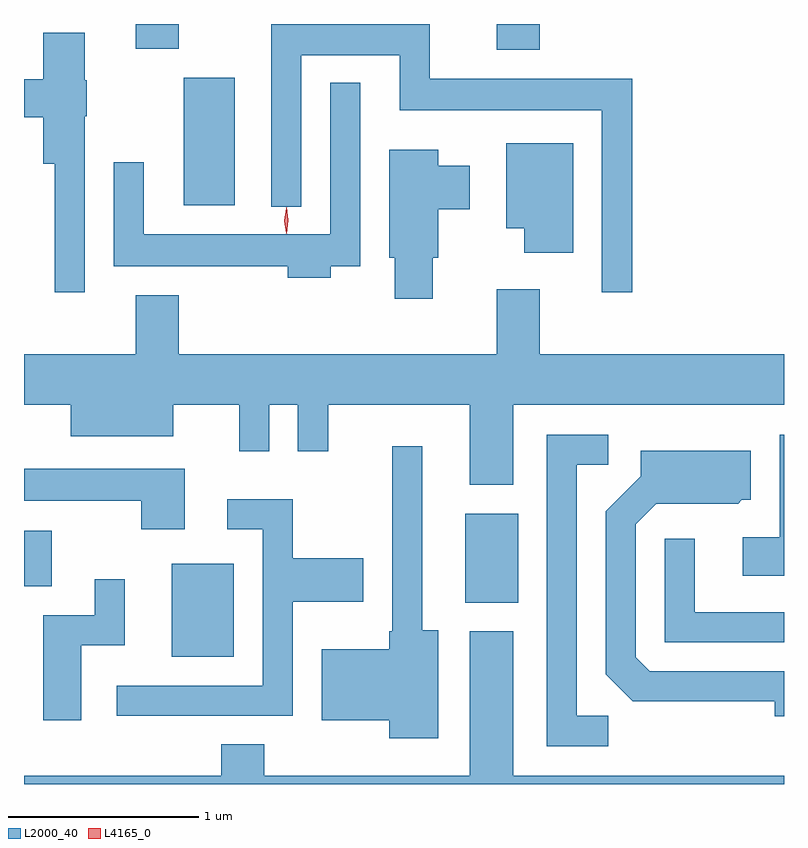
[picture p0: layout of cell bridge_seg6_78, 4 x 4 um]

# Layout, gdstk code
import gdstk
lib = gdstk.Library(unit=1e-6, precision=1e-09)
def R(c, l, rs):  # rectangles x0, y0, x1, y1
    for r in rs: c.add(gdstk.rectangle(r[:2], r[2:], *l))
def P(c, l, *ps):  # polygons
    for p in ps: c.add(gdstk.Polygon(p, *l))
L2000_40 = (2000, 40)
L4165_0 = (4165, 0)

bridge_seg6_78 = lib.new_cell('bridge_seg6_78')
R(bridge_seg6_78, L2000_40, [(1327.081,1657.491,1327.409,1657.979), (1328.626,1657.776,1328.904,1658.244), (1326.304,1657.861,1326.449,1658.154), (1327.146,1659.866,1327.414,1660.539), (1328.791,1660.686,1329.019,1660.821), (1326.891,1660.691,1327.119,1660.821)])
P(bridge_seg6_78, L2000_40, [(1329.504,1660.534),(1328.439,1660.534),(1328.439,1660.821),(1327.606,1660.821),(1327.606,1659.858),(1327.764,1659.858),(1327.764,1660.656),(1328.281,1660.656),(1328.281,1660.366),(1329.346,1660.366),(1329.346,1659.408),(1329.504,1659.408)],
  [(1326.624,1660.335),(1326.634,1660.335),(1326.634,1660.525),(1326.624,1660.525),(1326.624,1660.774),(1326.406,1660.774),(1326.406,1660.529),(1326.304,1660.529),(1326.304,1660.331),(1326.406,1660.331),(1326.406,1660.086),(1326.466,1660.086),(1326.466,1659.408),(1326.624,1659.408)],
  [(1327.919,1659.546),(1328.074,1659.546),(1328.074,1660.513),(1327.916,1660.513),(1327.916,1659.714),(1326.934,1659.714),(1326.934,1660.093),(1326.776,1660.093),(1326.776,1659.546),(1327.691,1659.546),(1327.691,1659.486),(1327.919,1659.486)],
  [(1329.194,1660.194),(1328.841,1660.194),(1328.841,1659.746),(1328.936,1659.746),(1328.936,1659.616),(1329.194,1659.616)],
  [(1328.454,1659.591),(1328.484,1659.591),(1328.484,1659.846),(1328.649,1659.846),(1328.649,1660.074),(1328.484,1660.074),(1328.484,1660.159),(1328.226,1660.159),(1328.226,1659.591),(1328.256,1659.591),(1328.256,1659.376),(1328.454,1659.376)],
  [(1328.879,1658.816),(1330.304,1658.816),(1330.304,1659.084),(1329.019,1659.084),(1329.019,1659.424),(1328.791,1659.424),(1328.791,1659.084),(1327.119,1659.084),(1327.119,1659.394),(1326.891,1659.394),(1326.891,1659.084),(1326.304,1659.084),(1326.304,1658.816),(1326.551,1658.816),(1326.551,1658.651),(1327.089,1658.651),(1327.089,1658.816),(1327.436,1658.816),(1327.436,1658.573),(1327.594,1658.573),(1327.594,1658.816),(1327.746,1658.816),(1327.746,1658.573),(1327.904,1658.573),(1327.904,1658.816),(1328.651,1658.816),(1328.651,1658.396),(1328.879,1658.396)],
  [(1329.378,1657.179),(1329.214,1657.179),(1329.214,1658.501),(1329.378,1658.501),(1329.378,1658.659),(1329.056,1658.659),(1329.056,1657.021),(1329.378,1657.021)],
  [(1330.304,1658.659),(1330.281,1658.659),(1330.281,1658.119),(1330.086,1658.119),(1330.086,1657.916),(1330.304,1657.916)],
  [(1328.484,1657.629),(1328.399,1657.629),(1328.399,1658.598),(1328.241,1658.598),(1328.241,1657.625),(1328.226,1657.625),(1328.226,1657.529),(1327.871,1657.529),(1327.871,1657.156),(1328.226,1657.156),(1328.226,1657.061),(1328.484,1657.061)],
  [(1330.304,1657.414),(1329.597,1657.414),(1329.524,1657.487),(1329.524,1658.189),(1329.632,1658.296),(1330.062,1658.296),(1330.082,1658.316),(1330.129,1658.316),(1330.129,1658.574),(1329.551,1658.574),(1329.551,1658.442),(1329.366,1658.257),(1329.366,1657.399),(1329.509,1657.256),(1330.256,1657.256),(1330.256,1657.178),(1330.304,1657.178)],
  [(1327.149,1658.479),(1326.304,1658.479),(1326.304,1658.311),(1326.921,1658.311),(1326.921,1658.161),(1327.149,1658.161)],
  [(1327.719,1657.781),(1328.089,1657.781),(1328.089,1658.009),(1327.719,1658.009),(1327.719,1658.319),(1327.373,1658.319),(1327.373,1658.161),(1327.561,1658.161),(1327.561,1657.339),(1326.793,1657.339),(1326.793,1657.181),(1327.719,1657.181)],
  [(1330.304,1657.724),(1329.834,1657.724),(1329.834,1658.113),(1329.676,1658.113),(1329.676,1657.566),(1330.304,1657.566)],
  [(1326.604,1657.551),(1326.834,1657.551),(1326.834,1657.898),(1326.676,1657.898),(1326.676,1657.709),(1326.406,1657.709),(1326.406,1657.156),(1326.604,1657.156)],
  [(1327.569,1657.029),(1327.341,1657.029),(1327.341,1656.864),(1326.304,1656.864),(1326.304,1656.821),(1330.304,1656.821),(1330.304,1656.864),(1328.879,1656.864),(1328.879,1657.624),(1328.651,1657.624),(1328.651,1656.864),(1327.569,1656.864)])
P(bridge_seg6_78, L4165_0, [(1327.684,1659.719),(1327.684,1659.72),(1327.674,1659.786),(1327.684,1659.852),(1327.684,1659.853),(1327.685,1659.852),(1327.694,1659.786),(1327.685,1659.72)],
  [(1327.686,1659.717),(1327.686,1659.718),(1327.676,1659.787),(1327.686,1659.856),(1327.686,1659.856),(1327.686,1659.856),(1327.696,1659.787),(1327.687,1659.718)])

lib.write_gds('bridge_seg6_78.gds')
